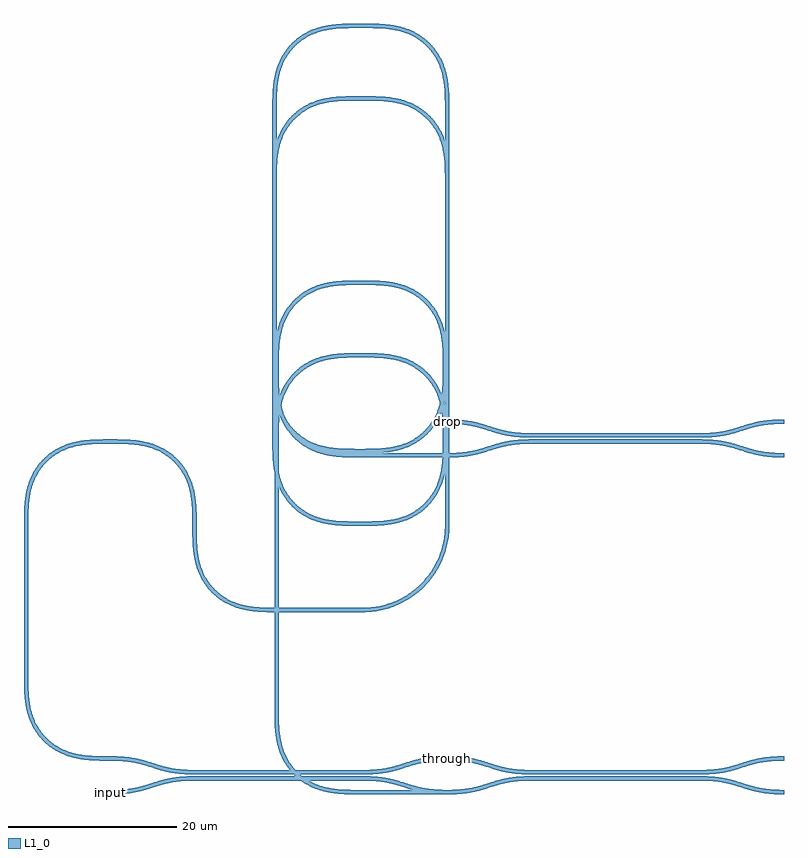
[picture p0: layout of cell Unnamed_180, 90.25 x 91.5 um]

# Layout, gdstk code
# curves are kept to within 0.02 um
from math import pi, radians
import gdstk
lib = gdstk.Library(unit=1e-6, precision=1e-09)
def R(c, l, rs):  # rectangles x0, y0, x1, y1
    for r in rs: c.add(gdstk.rectangle(r[:2], r[2:], *l))
def P(c, l, *ps):  # polygons
    for p in ps: c.add(gdstk.Polygon(p, *l))
L1_0 = (1, 0)

coupler_gdsfactorypcompo = lib.new_cell('coupler_gdsfactorypcomponentspcouplerspcoupler_G0p236_L_75dd060a')
P(coupler_gdsfactorypcompo, L1_0, [(-10,-1.882),(-10,-1.382),(-8.633,-1.335),(-7.417,-1.193),(-6.249,-0.938),(-4.05,-0.258),(-3.065,-0.019),(-1.652,0.182),(-0.303,0.248),(20,0.25),(21.144,0.219),(22.346,0.103),(23.349,-0.08),(24.296,-0.33),(26.086,-0.893),(27.222,-1.159),(28.511,-1.326),(30,-1.382),(30,-1.882),(28.856,-1.851),(27.877,-1.764),(27.032,-1.632),(26.291,-1.466),(23.994,-0.762),(23.059,-0.528),(22.062,-0.364),(20.854,-0.267),(-0.297,-0.252),(-1.725,-0.327),(-3.059,-0.528),(-3.994,-0.762),(-6.034,-1.397),(-7.335,-1.686),(-8.597,-1.834)],
  [(0,0.486),(-1.403,0.534),(-2.665,0.682),(-3.796,0.925),(-6.086,1.629),(-7.126,1.877),(-8.511,2.062),(-10,2.118),(-10,2.618),(-8.597,2.57),(-7.335,2.422),(-6.204,2.179),(-3.914,1.475),(-2.874,1.227),(-1.489,1.042),(0,0.986),(20,0.986),(21.116,1.016),(22.17,1.114),(23.24,1.303),(24.152,1.545),(25.95,2.11),(27.032,2.368),(28.348,2.55),(30,2.618),(30,2.118),(28.511,2.062),(27.222,1.895),(26.086,1.629),(24.296,1.066),(23.532,0.858),(22.56,0.665),(21.403,0.534),(20,0.486)])

bend_circular_gdsfactory = lib.new_cell('bend_circular_gdsfactorypcomponentspbendspbend_circular_7d8e4b82')
P(bend_circular_gdsfactory, L1_0, [(0,-0.25),(0,0.25),(1.003,0.302),(1.994,0.456),(3.203,0.791),(4.133,1.169),(5.019,1.641),(5.649,2.053),(6.246,2.513),(6.805,3.018),(7.487,3.754),(7.947,4.351),(8.359,4.981),(8.721,5.641),(9.209,6.797),(9.489,7.761),(9.669,8.748),(9.75,10),(10.25,10),(10.196,8.946),(10.084,8.162),(9.842,7.135),(9.495,6.139),(9.169,5.417),(8.649,4.499),(8.037,3.639),(7.341,2.846),(6.566,2.129),(5.722,1.496),(4.817,0.953),(3.861,0.505),(2.865,0.158),(1.838,-0.084),(1.054,-0.196)])

bend_euler_gdsfactorypco = lib.new_cell('bend_euler_gdsfactorypcomponentspbendspbend_euler_R10_A_335c8724')
P(bend_euler_gdsfactorypco, L1_0, [(0,-0.25),(0,0.25),(1.655,0.269),(2.881,0.353),(3.952,0.52),(4.99,0.806),(5.731,1.113),(6.431,1.505),(7.079,1.976),(7.575,2.425),(8.024,2.921),(8.495,3.569),(8.887,4.269),(9.194,5.01),(9.48,6.048),(9.647,7.119),(9.731,8.345),(9.75,10),(10.25,10),(10.235,8.468),(10.158,7.205),(10.023,6.224),(9.797,5.254),(9.457,4.312),(9.066,3.545),(8.5,2.715),(7.928,2.072),(7.285,1.5),(6.455,0.934),(5.688,0.543),(4.746,0.203),(3.776,-0.023),(2.795,-0.158),(1.532,-0.235)])

straight_gdsfactorypcomp = lib.new_cell('straight_gdsfactorypcomponentspwaveguidespstraight_L17p_9b503d21')
R(straight_gdsfactorypcomp, L1_0, [(0,-0.25,17.632,0.25)])

c_straight_gdsfactorypcomp = lib.new_cell('straight_gdsfactorypcomponentspwaveguidespstraight_L10__d72987f6')
R(c_straight_gdsfactorypcomp, L1_0, [(0,-0.25,10,0.25)])

c_straight_gdsfactorypcomp_ = lib.new_cell('straight_gdsfactorypcomponentspwaveguidespstraight_L40p_a9e1b091')
R(c_straight_gdsfactorypcomp_, L1_0, [(0,-0.25,40.75,0.25)])

c_straight_gdsfactorypcomp__ = lib.new_cell('straight_gdsfactorypcomponentspwaveguidespstraight_L0p5_10f221fb')
R(c_straight_gdsfactorypcomp__, L1_0, [(0,-0.25,0.5,0.25)])

c_straight_gdsfactorypcomp___ = lib.new_cell('straight_gdsfactorypcomponentspwaveguidespstraight_L30p_21b07999')
R(c_straight_gdsfactorypcomp___, L1_0, [(0,-0.25,30.5,0.25)])

c_straight_gdsfactorypcomp____ = lib.new_cell('straight_gdsfactorypcomponentspwaveguidespstraight_L0p2_10786d69')
R(c_straight_gdsfactorypcomp____, L1_0, [(0,-0.25,0.25,0.25)])

c_straight_gdsfactorypcomp_____ = lib.new_cell('straight_gdsfactorypcomponentspwaveguidespstraight_L31p_11053384')
R(c_straight_gdsfactorypcomp_____, L1_0, [(0,-0.25,31.882,0.25)])

c_straight_gdsfactorypcomp______ = lib.new_cell('straight_gdsfactorypcomponentspwaveguidespstraight_L10p_f8441c0e')
R(c_straight_gdsfactorypcomp______, L1_0, [(0,-0.25,10.25,0.25)])

c_straight_gdsfactorypcomp_______ = lib.new_cell('straight_gdsfactorypcomponentspwaveguidespstraight_L49p_d5be6451')
R(c_straight_gdsfactorypcomp_______, L1_0, [(0,-0.25,49.368,0.25)])

unnamed_180 = lib.new_cell('Unnamed_180')
P(unnamed_180, L1_0, [(-10,-1.882),(-10.25,-1.632),(-10.062,-1.444),(-10.025,-1.444),(-10.215,-1.632),(-10.025,-1.632),(-10.025,-1.444),(-10.062,-1.444),(-10,-1.382)],
  [(30,2.118),(29.75,2.368),(29.938,2.556),(29.975,2.556),(29.785,2.368),(29.975,2.368),(29.975,2.556),(29.938,2.556),(30,2.618)],
  [(30,42.118),(29.75,42.368),(29.938,42.556),(29.975,42.556),(29.785,42.368),(29.975,42.368),(29.975,42.556),(29.938,42.556),(30,42.618)])
unnamed_180.add(gdstk.Reference(coupler_gdsfactorypcompo, (0,0)))
unnamed_180.add(gdstk.Reference(coupler_gdsfactorypcompo, (40,0)))
unnamed_180.add(gdstk.Reference(bend_circular_gdsfactory, (20,20)))
unnamed_180.add(gdstk.Reference(coupler_gdsfactorypcompo, (40,40)))
unnamed_180.add(gdstk.Reference(bend_euler_gdsfactorypco, (-20,12.368), rotation=3*pi/2))
unnamed_180.add(gdstk.Reference(bend_euler_gdsfactorypco, (-10,40), rotation=pi))
unnamed_180.add(gdstk.Reference(straight_gdsfactorypcomp, (-20,12.368), rotation=pi/2))
unnamed_180.add(gdstk.Reference(bend_euler_gdsfactorypco, (0,30), rotation=pi/2))
unnamed_180.add(gdstk.Reference(bend_euler_gdsfactorypco, (10,20), rotation=pi, x_reflection=True))
unnamed_180.add(gdstk.Reference(c_straight_gdsfactorypcomp, (10,20)))
unnamed_180.add(gdstk.Reference(bend_euler_gdsfactorypco, (20,80.75), x_reflection=True))
unnamed_180.add(gdstk.Reference(c_straight_gdsfactorypcomp_, (30,30), rotation=pi/2))
unnamed_180.add(gdstk.Reference(bend_euler_gdsfactorypco, (9.5,70.75), rotation=pi/2, x_reflection=True))
unnamed_180.add(gdstk.Reference(c_straight_gdsfactorypcomp__, (20,80.75), rotation=pi))
unnamed_180.add(gdstk.Reference(bend_euler_gdsfactorypco, (19.5,30.25), rotation=pi, x_reflection=True))
unnamed_180.add(gdstk.Reference(c_straight_gdsfactorypcomp___, (9.5,70.75), rotation=3*pi/2))
unnamed_180.add(gdstk.Reference(bend_euler_gdsfactorypco, (29.75,40.25), rotation=3*pi/2, x_reflection=True))
unnamed_180.add(gdstk.Reference(c_straight_gdsfactorypcomp____, (19.5,30.25)))
unnamed_180.add(gdstk.Reference(bend_euler_gdsfactorypco, (19.75,50.25), x_reflection=True))
unnamed_180.add(gdstk.Reference(bend_euler_gdsfactorypco, (9.75,40.25), rotation=pi/2, x_reflection=True))
unnamed_180.add(gdstk.Reference(bend_euler_gdsfactorypco, (19.75,-1.632), rotation=pi, x_reflection=True))
unnamed_180.add(gdstk.Reference(c_straight_gdsfactorypcomp_____, (9.75,40.25), rotation=3*pi/2))
unnamed_180.add(gdstk.Reference(c_straight_gdsfactorypcomp______, (19.75,-1.632)))
unnamed_180.add(gdstk.Reference(bend_euler_gdsfactorypco, (20,89.368), x_reflection=True))
unnamed_180.add(gdstk.Reference(c_straight_gdsfactorypcomp_______, (30,30), rotation=pi/2))
unnamed_180.add(gdstk.Reference(bend_euler_gdsfactorypco, (9.5,79.368), rotation=pi/2, x_reflection=True))
unnamed_180.add(gdstk.Reference(c_straight_gdsfactorypcomp__, (20,89.368), rotation=pi))
unnamed_180.add(gdstk.Reference(bend_euler_gdsfactorypco, (19.5,38.868), rotation=pi, x_reflection=True))
unnamed_180.add(gdstk.Reference(c_straight_gdsfactorypcomp___, (9.5,79.368), rotation=3*pi/2))
unnamed_180.add(gdstk.Reference(bend_euler_gdsfactorypco, (29.75,48.868), rotation=3*pi/2, x_reflection=True))
unnamed_180.add(gdstk.Reference(c_straight_gdsfactorypcomp____, (19.5,38.868)))
unnamed_180.add(gdstk.Reference(bend_euler_gdsfactorypco, (19.75,58.868), x_reflection=True))
unnamed_180.add(gdstk.Reference(bend_euler_gdsfactorypco, (9.75,48.868), rotation=pi/2, x_reflection=True))
unnamed_180.add(gdstk.Reference(bend_euler_gdsfactorypco, (19.75,38.368), rotation=pi, x_reflection=True))
unnamed_180.add(gdstk.Reference(c_straight_gdsfactorypcomp__, (9.75,48.868), rotation=3*pi/2))
unnamed_180.add(gdstk.Reference(c_straight_gdsfactorypcomp______, (19.75,38.368)))
unnamed_180.add(gdstk.Label('input', (-10,-1.632), layer=1, texttype=0))
unnamed_180.add(gdstk.Label('through', (30,2.368), layer=1, texttype=0))
unnamed_180.add(gdstk.Label('drop', (30,42.368), layer=1, texttype=0))

lib.write_gds('Unnamed_180.gds')
